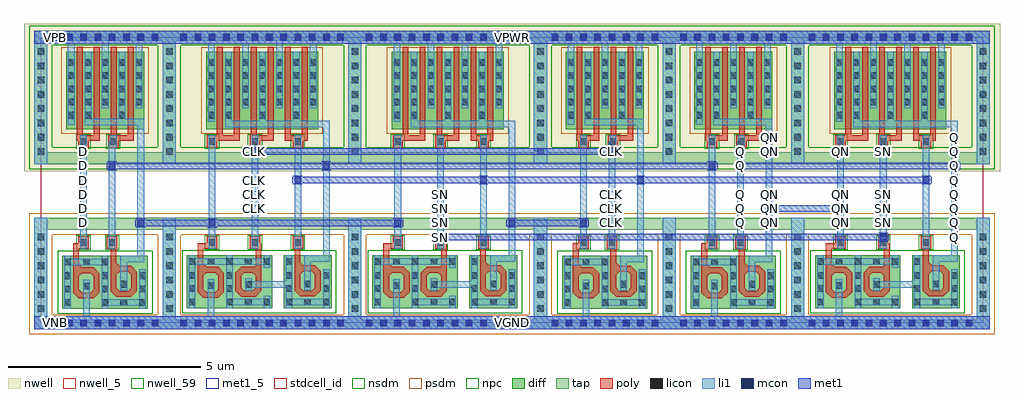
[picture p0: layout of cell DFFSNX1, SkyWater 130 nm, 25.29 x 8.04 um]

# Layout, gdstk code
from math import pi, radians
import gdstk
lib = gdstk.Library(unit=1e-6, precision=1e-09)
def R(c, l, rs):  # rectangles x0, y0, x1, y1
    for r in rs: c.add(gdstk.rectangle(r[:2], r[2:], *l))
def A(c, l, x, y, w, h, nx, ny, dx, dy):  # array of equal rectangles
    R(c, l, [(x+i*dx, y+j*dy, x+i*dx+w, y+j*dy+h) for i in range(nx) for j in range(ny)])
def P(c, l, *ps):  # polygons
    for p in ps: c.add(gdstk.Polygon(p, *l))
nwell_5 = (64, 5)
nwell = (64, 20)
nwell_59 = (64, 59)
diff = (65, 20)
tap = (65, 44)
poly = (66, 20)
licon = (66, 44)
li1 = (67, 20)
mcon = (67, 44)
met1_5 = (68, 5)
met1 = (68, 20)
stdcell_id = (81, 4)
nsdm = (93, 44)
psdm = (94, 20)
npc = (95, 20)

li1_m1_contact = lib.new_cell('li1_M1_contact')
R(li1_m1_contact, li1, [(-0.085,-0.165,0.085,0.165)])
R(li1_m1_contact, mcon, [(-0.085,-0.085,0.085,0.085)])
R(li1_m1_contact, met1, [(-0.115,-0.115,0.115,-0.085), (-0.265,-0.085,0.145,0.085), (-0.115,0.085,0.115,0.115)])

diff_ring_side = lib.new_cell('diff_ring_side')
R(diff_ring_side, nwell, [(-0.435,3.93,0.435,7.75)])
R(diff_ring_side, tap, [(-0.17,-0.17,0.17,2.72), (-0.17,4.11,0.17,7.57)])
A(diff_ring_side, licon, -0.085, 0.285, 0.17, 0.17, 1, 6, 0, 0.37)
A(diff_ring_side, licon, -0.085, 4.355, 0.17, 0.17, 1, 8, 0, 0.37)
R(diff_ring_side, li1, [(-0.17,-0.17,0.17,2.72), (-0.17,4.11,0.17,7.57)])
R(diff_ring_side, met1, [(-0.17,-0.17,0.17,0.17), (-0.17,7.23,0.17,7.57)])
R(diff_ring_side, nsdm, [(-0.295,3.985,0.295,7.695)])
R(diff_ring_side, psdm, [(-0.295,-0.295,0.295,2.845)])

nmos_bottom = lib.new_cell('nmos_bottom')
R(nmos_bottom, diff, [(0,0,1.24,1.38)])
R(nmos_bottom, poly, [(0.43,0.27,0.81,0.42), (0.28,0.42,0.43,0.925), (0.81,0.42,0.96,0.925), (0.43,0.925,0.96,1.075), (0.81,1.075,0.96,1.51)])
P(nmos_bottom, poly, [(0.73,1.075),(0.81,1.075),(0.81,1.155)],
  [(0.28,0.925),(0.43,0.925),(0.43,1.075)],
  [(0.43,0.845),(0.43,0.925),(0.51,0.925)],
  [(0.73,0.925),(0.81,0.925),(0.81,0.845)],
  [(0.43,0.5),(0.43,0.42),(0.51,0.42)],
  [(0.73,0.42),(0.81,0.42),(0.81,0.5)],
  [(0.28,0.42),(0.43,0.42),(0.43,0.27)],
  [(0.81,0.27),(0.81,0.42),(0.96,0.42)])
A(nmos_bottom, licon, 0.05, 1.13, 0.17, 0.17, 3, 1, 0.485, 0)
R(nmos_bottom, licon, [(0.05,0.08,0.22,0.25), (1.02,0.08,1.19,0.25), (0.05,0.43,0.22,0.6), (1.02,0.43,1.19,0.6), (0.535,0.505,0.705,0.675), (0.05,0.77,0.22,0.94), (1.02,0.77,1.19,0.94)])
R(nmos_bottom, li1, [(0.05,0,0.22,1.13), (1.02,0,1.19,1.13), (0.535,0.425,0.705,0.755), (0.05,1.13,1.19,1.3), (0.05,1.3,0.22,1.38), (1.02,1.3,1.19,1.38)])
R(nmos_bottom, nsdm, [(-0.125,-0.125,1.365,1.505)])

pmos2 = lib.new_cell('pmos2')
R(pmos2, nwell, [(0.26,-2.18,1.76,0.18)])
R(pmos2, diff, [(0.44,-2,1.58,0)])
R(pmos2, poly, [(0.72,-2.305,1.31,-2.155), (0.72,-2.155,0.87,0.13), (1.16,-2.155,1.31,0.13)])
A(pmos2, licon, 0.49, -1.38, 0.17, 0.17, 3, 4, 0.44, 0.34)
R(pmos2, li1, [(0.49,-1.465,0.66,0.21), (0.93,-1.465,1.1,0), (1.37,-1.465,1.54,0.21)])
R(pmos2, psdm, [(0.315,-2.125,1.705,0.125)])

poly_li1_contact = lib.new_cell('poly_li1_contact')
R(poly_li1_contact, poly, [(-0.16,-0.14,0.17,0.13)])
R(poly_li1_contact, licon, [(-0.08,-0.09,0.09,0.08)])
R(poly_li1_contact, li1, [(-0.16,-0.09,0.17,0.08)])
R(poly_li1_contact, npc, [(-0.18,-0.19,0.19,0.18)])

nmos_top_trim1 = lib.new_cell('nmos_top_trim1')
R(nmos_top_trim1, diff, [(0,0,1.24,1.38)])
R(nmos_top_trim1, poly, [(0.43,0.31,0.81,0.46), (0.28,0.46,0.43,0.965), (0.81,0.46,0.96,0.965), (0.43,0.965,0.96,1.115), (0.81,1.115,0.96,1.545)])
P(nmos_top_trim1, poly, [(0.73,1.115),(0.81,1.115),(0.81,1.195)],
  [(0.28,0.965),(0.43,0.965),(0.43,1.115)],
  [(0.43,0.885),(0.43,0.965),(0.51,0.965)],
  [(0.73,0.965),(0.81,0.965),(0.81,0.885)],
  [(0.43,0.54),(0.43,0.46),(0.51,0.46)],
  [(0.73,0.46),(0.81,0.46),(0.81,0.54)],
  [(0.28,0.46),(0.43,0.46),(0.43,0.31)],
  [(0.81,0.31),(0.81,0.46),(0.96,0.46)])
A(nmos_top_trim1, licon, 0.05, 0.08, 0.17, 0.17, 3, 1, 0.485, 0)
R(nmos_top_trim1, licon, [(0.05,0.43,0.22,0.6), (1.02,0.43,1.19,0.6), (0.535,0.55,0.705,0.72), (0.05,0.77,0.22,0.94), (1.02,0.77,1.19,0.94), (1.02,1.13,1.19,1.3)])
R(nmos_top_trim1, li1, [(0.05,0,0.22,0.08), (1.02,0,1.19,0.08), (0.05,0.08,1.19,0.25), (0.05,0.25,0.22,1.02), (1.02,0.25,1.19,1.38), (0.535,0.47,0.705,0.805)])
R(nmos_top_trim1, nsdm, [(-0.125,-0.125,1.365,1.505)])

nand2x1_pcell = lib.new_cell('nand2x1_pcell')
R(nand2x1_pcell, nwell, [(0.435,3.93,2.895,7.75)])
R(nand2x1_pcell, diff, [(0.705,5.295,0.875,5.465), (1.145,5.295,1.315,5.465), (2.025,5.295,2.195,5.465)])
R(nand2x1_pcell, tap, [(0.17,-0.17,3.16,-0.15), (0.155,-0.15,3.175,0.085), (0.155,2.4,0.17,2.41), (3.16,2.4,3.175,2.41), (0.155,2.41,3.175,2.71), (0.17,2.71,3.16,2.72), (0.17,4.11,3.16,4.42), (0.17,7.315,3.16,7.57)])
R(nand2x1_pcell, poly, [(0.84,1.875,0.99,2.065), (1.81,1.91,1.96,1.915)])
A(nand2x1_pcell, licon, 0.285, -0.085, 0.17, 0.17, 8, 2, 0.37, 7.4)
R(nand2x1_pcell, licon, [(0.705,5.295,0.875,5.465), (1.145,5.295,1.315,5.465), (2.025,5.295,2.195,5.465)])
R(nand2x1_pcell, li1, [(0.17,-0.17,3.16,-0.15), (0.155,-0.15,3.175,0.16), (0.17,0.16,3.16,0.17), (1.095,0.17,1.265,0.835), (2.065,1.165,2.235,1.57), (2.065,1.57,2.675,1.74), (2.505,1.74,2.675,5.115), (1.025,2.165,1.195,4.54), (1.765,2.165,1.785,2.205), (1.765,2.205,1.935,4.54), (1.765,4.54,1.805,4.71), (1.145,5.115,2.675,5.285), (0.705,5.135,0.875,5.555), (1.145,5.285,1.315,5.555), (2.025,5.285,2.195,5.555), (0.17,7.23,3.16,7.57)])
A(nand2x1_pcell, mcon, 0.285, -0.085, 0.17, 0.17, 8, 2, 0.37, 7.4)
R(nand2x1_pcell, met1, [(0.17,-0.17,3.16,-0.15), (0.155,-0.15,3.175,0.16), (0.17,0.16,3.16,0.17), (0.17,7.23,3.16,7.57)])
R(nand2x1_pcell, nsdm, [(0.045,3.985,3.285,4.545), (0.045,7.19,3.285,7.695)])
R(nand2x1_pcell, psdm, [(0.045,-0.295,3.285,-0.275), (0.03,-0.275,3.3,0.21), (0.03,2.275,0.295,2.285), (3.035,2.275,3.3,2.285), (0.03,2.285,3.3,2.835), (0.045,2.835,3.285,2.845), (0.58,5.17,1.44,5.59), (1.9,5.17,2.32,5.59)])
nand2x1_pcell.add(gdstk.Reference(diff_ring_side, (0,0)))
nand2x1_pcell.add(gdstk.Reference(nmos_bottom, (1.8,0.365), rotation=pi, x_reflection=True))
nand2x1_pcell.add(gdstk.Reference(pmos2, (0.215,7.02)))
nand2x1_pcell.add(gdstk.Reference(poly_li1_contact, (1.115,4.705), rotation=3*pi/2))
nand2x1_pcell.add(gdstk.Reference(poly_li1_contact, (1.115,2.085), rotation=3*pi/2))
nand2x1_pcell.add(gdstk.Reference(nmos_top_trim1, (2.77,0.365), rotation=pi, x_reflection=True))
nand2x1_pcell.add(gdstk.Reference(pmos2, (1.095,7.02)))
nand2x1_pcell.add(gdstk.Reference(poly_li1_contact, (1.845,2.075), rotation=pi/2))
nand2x1_pcell.add(gdstk.Reference(poly_li1_contact, (1.885,4.705), rotation=3*pi/2))
nand2x1_pcell.add(gdstk.Reference(diff_ring_side, (3.33,0)))

nmos_side_left = lib.new_cell('nmos_side_left')
R(nmos_side_left, diff, [(0,0,1.24,1.38)])
R(nmos_side_left, poly, [(0.435,0.305,0.81,0.455), (0.285,0.455,0.435,0.925), (0.81,0.455,0.96,0.925), (0.435,0.925,0.96,1.075), (0.81,1.075,0.96,1.51)])
P(nmos_side_left, poly, [(0.285,0.925),(0.435,0.925),(0.435,1.075)],
  [(0.435,0.845),(0.435,0.925),(0.515,0.925)],
  [(0.73,0.925),(0.81,0.925),(0.81,0.845)],
  [(0.435,0.535),(0.435,0.455),(0.515,0.455)],
  [(0.73,0.455),(0.81,0.455),(0.81,0.535)],
  [(0.285,0.455),(0.435,0.455),(0.435,0.305)],
  [(0.81,0.305),(0.81,0.455),(0.96,0.455)])
A(nmos_side_left, licon, 0.05, 0.08, 0.17, 0.17, 3, 2, 0.485, 1.05)
R(nmos_side_left, licon, [(0.05,0.43,0.22,0.6), (0.54,0.535,0.71,0.705), (0.05,0.77,0.22,0.94)])
R(nmos_side_left, li1, [(0.05,0,0.22,0.08), (1.02,0,1.19,0.08), (0.05,0.08,1.19,0.25), (0.05,0.25,0.22,1.13), (1.02,0.25,1.19,0.33), (0.54,0.455,0.71,0.785), (1.02,1.05,1.19,1.13), (0.05,1.13,1.19,1.3), (0.05,1.3,0.22,1.38), (1.02,1.3,1.19,1.38)])
R(nmos_side_left, nsdm, [(-0.125,-0.125,1.365,1.505)])

nand3x1_pcell = lib.new_cell('nand3x1_pcell')
R(nand3x1_pcell, nwell, [(0.435,3.93,4.375,5.28), (0.435,5.28,1.1,5.295), (1.395,5.28,4.375,5.495), (0.435,5.295,1.025,5.465), (1.145,5.295,1.315,5.465), (0.435,5.465,1.1,5.495), (0.435,5.495,4.375,7.75)])
A(nand3x1_pcell, diff, 1.445, 5.295, 0.17, 0.17, 3, 1, 0.88, 0)
R(nand3x1_pcell, diff, [(1.005,5.295,1.175,5.465)])
R(nand3x1_pcell, tap, [(0.17,-0.17,4.64,0.085), (0.17,2.41,4.64,2.72), (0.17,4.11,4.64,4.42), (0.17,7.315,4.64,7.57)])
R(nand3x1_pcell, poly, [(0.735,1.885,0.885,1.915), (2.235,1.885,2.385,1.915), (0.735,1.915,0.975,2.065), (2.355,1.915,2.385,2.065)])
A(nand3x1_pcell, licon, 0.285, -0.085, 0.17, 0.17, 12, 2, 0.37, 7.4)
A(nand3x1_pcell, licon, 1.445, 5.295, 0.17, 0.17, 3, 1, 0.88, 0)
R(nand3x1_pcell, licon, [(1.005,5.295,1.175,5.465)])
A(nand3x1_pcell, li1, 1.445, 5.24, 0.17, 0.315, 3, 1, 0.88, 0)
R(nand3x1_pcell, li1, [(0.17,-0.17,4.64,0.17), (0.99,0.17,1.16,0.835), (1.965,0.91,3.015,1.08), (3.5,1.175,3.67,1.58), (3.5,1.58,4.155,1.75), (3.985,1.75,4.155,5.07), (1.025,2.165,1.195,4.54), (2.135,2.165,2.305,4.54), (3.245,2.245,3.415,4.7), (1.445,5.07,4.155,5.24), (1.005,5.215,1.175,5.58), (0.17,7.23,4.64,7.57)])
A(nand3x1_pcell, mcon, 0.285, -0.085, 0.17, 0.17, 12, 2, 0.37, 7.4)
R(nand3x1_pcell, met1, [(0.17,-0.17,4.64,0.17), (0.17,7.23,4.64,7.57)])
R(nand3x1_pcell, nsdm, [(2.79,0.25,2.84,1.88), (0.045,3.985,4.765,4.545), (0.045,7.19,4.765,7.695)])
R(nand3x1_pcell, psdm, [(0.045,-0.295,4.765,0.21), (0.045,2.285,4.765,2.845), (0.88,5.17,1.74,5.59), (2.2,5.17,2.62,5.59), (3.08,5.17,3.5,5.59)])
nand3x1_pcell.add(gdstk.Reference(poly_li1_contact, (1.115,4.705), rotation=3*pi/2))
nand3x1_pcell.add(gdstk.Reference(pmos2, (0.515,7.02)))
nand3x1_pcell.add(gdstk.Reference(nmos_bottom, (1.695,0.375), rotation=pi, x_reflection=True))
nand3x1_pcell.add(gdstk.Reference(poly_li1_contact, (1.105,2.075), rotation=pi/2))
nand3x1_pcell.add(gdstk.Reference(diff_ring_side, (0,0)))
nand3x1_pcell.add(gdstk.Reference(poly_li1_contact, (2.215,4.695), rotation=pi/2))
nand3x1_pcell.add(gdstk.Reference(pmos2, (2.275,7.02)))
nand3x1_pcell.add(gdstk.Reference(pmos2, (1.395,7.02)))
nand3x1_pcell.add(gdstk.Reference(nmos_side_left, (1.425,0.375)))
nand3x1_pcell.add(gdstk.Reference(poly_li1_contact, (2.215,2.075), rotation=pi/2))
nand3x1_pcell.add(gdstk.Reference(poly_li1_contact, (3.335,4.705), rotation=3*pi/2))
nand3x1_pcell.add(gdstk.Reference(nmos_top_trim1, (4.205,0.375), rotation=pi, x_reflection=True))
nand3x1_pcell.add(gdstk.Reference(poly_li1_contact, (3.325,2.075), rotation=pi/2))
nand3x1_pcell.add(gdstk.Reference(diff_ring_side, (4.81,0)))

dffsnx1_pcell = lib.new_cell('dffsnx1_pcell')
R(dffsnx1_pcell, met1, [(10.275,2.135,21.905,2.305), (2.685,2.505,9.11,2.675), (12.305,2.505,13.855,2.675), (6.755,3.615,23.02,3.785), (2.03,3.985,17.43,4.155), (5.465,4.355,14.76,4.525)])
dffsnx1_pcell.add(gdstk.Reference(li1_m1_contact, (4.44,2.585), rotation=pi))
dffsnx1_pcell.add(gdstk.Reference(li1_m1_contact, (2.59,2.59), rotation=pi))
dffsnx1_pcell.add(gdstk.Reference(li1_m1_contact, (1.85,4.07), rotation=pi))
dffsnx1_pcell.add(gdstk.Reference(nand2x1_pcell, (0,0)))
dffsnx1_pcell.add(gdstk.Reference(nand3x1_pcell, (3.33,0)))
dffsnx1_pcell.add(gdstk.Reference(li1_m1_contact, (10.36,2.22), rotation=pi))
dffsnx1_pcell.add(gdstk.Reference(li1_m1_contact, (9.25,2.59)))
dffsnx1_pcell.add(gdstk.Reference(li1_m1_contact, (7.395,4.07), rotation=pi))
dffsnx1_pcell.add(gdstk.Reference(li1_m1_contact, (6.66,3.7), rotation=pi))
dffsnx1_pcell.add(gdstk.Reference(li1_m1_contact, (5.55,4.44), rotation=pi))
dffsnx1_pcell.add(gdstk.Reference(nand3x1_pcell, (8.14,0)))
dffsnx1_pcell.add(gdstk.Reference(li1_m1_contact, (14.8,4.44)))
dffsnx1_pcell.add(gdstk.Reference(li1_m1_contact, (15.54,3.7)))
dffsnx1_pcell.add(gdstk.Reference(li1_m1_contact, (14.06,2.59)))
dffsnx1_pcell.add(gdstk.Reference(li1_m1_contact, (12.21,2.59), rotation=pi))
dffsnx1_pcell.add(gdstk.Reference(li1_m1_contact, (11.47,3.7)))
dffsnx1_pcell.add(gdstk.Reference(nand2x1_pcell, (16.28,0)))
dffsnx1_pcell.add(gdstk.Reference(nand2x1_pcell, (12.95,0)))
dffsnx1_pcell.add(gdstk.Reference(li1_m1_contact, (21.83,2.22)))
dffsnx1_pcell.add(gdstk.Reference(li1_m1_contact, (17.39,4.07)))
dffsnx1_pcell.add(gdstk.Reference(nand3x1_pcell, (19.61,0)))
dffsnx1_pcell.add(gdstk.Reference(li1_m1_contact, (22.94,3.7)))

dffsnx1 = lib.new_cell('DFFSNX1')
R(dffsnx1, nwell_5, [(0.285,7.315,0.455,7.485)])
R(dffsnx1, nwell, [(0.285,7.315,0.455,7.485)])
R(dffsnx1, nwell_59, [(0.285,-0.085,0.455,0.085)])
A(dffsnx1, li1, 10.275, 2.135, 0.17, 0.17, 1, 4, 0, 0.37)
A(dffsnx1, li1, 23.595, 2.135, 0.17, 0.17, 1, 8, 0, 0.37)
A(dffsnx1, li1, 1.025, 2.505, 0.17, 0.17, 1, 6, 0, 0.37)
A(dffsnx1, li1, 14.715, 2.505, 0.17, 0.17, 1, 3, 0, 0.37)
A(dffsnx1, li1, 18.045, 2.505, 0.17, 0.17, 1, 3, 0, 0.37)
A(dffsnx1, li1, 18.785, 2.505, 0.17, 0.17, 1, 3, 0, 0.37)
A(dffsnx1, li1, 20.635, 2.505, 0.17, 0.17, 1, 3, 0, 0.37)
A(dffsnx1, li1, 21.745, 2.505, 0.17, 0.17, 1, 3, 0, 0.37)
A(dffsnx1, li1, 5.465, 2.875, 0.17, 0.17, 1, 3, 0, 0.37)
R(dffsnx1, li1, [(18.045,3.985,18.215,4.155), (5.465,4.355,5.635,4.525), (14.715,4.355,14.885,4.525), (18.045,4.355,18.215,4.525), (18.785,4.355,18.955,4.525), (20.635,4.355,20.805,4.525), (21.745,4.355,21.915,4.525), (18.785,4.725,18.955,4.895)])
A(dffsnx1, met1_5, 10.275, 2.135, 0.17, 0.17, 1, 4, 0, 0.37)
A(dffsnx1, met1_5, 23.595, 2.135, 0.17, 0.17, 1, 8, 0, 0.37)
A(dffsnx1, met1_5, 1.025, 2.505, 0.17, 0.17, 1, 6, 0, 0.37)
A(dffsnx1, met1_5, 14.715, 2.505, 0.17, 0.17, 1, 3, 0, 0.37)
A(dffsnx1, met1_5, 18.045, 2.505, 0.17, 0.17, 1, 3, 0, 0.37)
A(dffsnx1, met1_5, 18.785, 2.505, 0.17, 0.17, 1, 3, 0, 0.37)
A(dffsnx1, met1_5, 20.635, 2.505, 0.17, 0.17, 1, 3, 0, 0.37)
A(dffsnx1, met1_5, 21.745, 2.505, 0.17, 0.17, 1, 3, 0, 0.37)
A(dffsnx1, met1_5, 5.465, 2.875, 0.17, 0.17, 1, 3, 0, 0.37)
R(dffsnx1, met1_5, [(-0.17,-0.17,24.59,0.17), (18.045,3.985,18.215,4.155), (5.465,4.355,5.635,4.525), (14.715,4.355,14.885,4.525), (18.045,4.355,18.215,4.525), (18.785,4.355,18.955,4.525), (20.635,4.355,20.805,4.525), (21.745,4.355,21.915,4.525), (18.785,4.725,18.955,4.895), (-0.17,7.23,24.59,7.57)])
R(dffsnx1, met1, [(-0.17,-0.17,24.59,0.17), (18.965,2.875,20.505,3.045), (18.225,3.985,23.505,4.155), (-0.17,7.23,24.59,7.57)])
R(dffsnx1, stdcell_id, [(0,0,24.42,7.4)])
dffsnx1.add(gdstk.Reference(li1_m1_contact, (20.72,2.96)))
dffsnx1.add(gdstk.Reference(li1_m1_contact, (18.87,2.96), rotation=pi))
dffsnx1.add(gdstk.Reference(dffsnx1_pcell, (0,0)))
dffsnx1.add(gdstk.Reference(li1_m1_contact, (18.13,4.07), rotation=pi))
dffsnx1.add(gdstk.Reference(li1_m1_contact, (23.68,4.07)))
dffsnx1.add(gdstk.Label('Q', (23.68,3.33), layer=68, texttype=5))
dffsnx1.add(gdstk.Label('Q', (23.68,3.7), layer=68, texttype=5))
dffsnx1.add(gdstk.Label('Q', (23.68,4.07), layer=68, texttype=5))
dffsnx1.add(gdstk.Label('Q', (23.68,4.44), layer=68, texttype=5))
dffsnx1.add(gdstk.Label('Q', (23.68,4.81), layer=68, texttype=5))
dffsnx1.add(gdstk.Label('Q', (23.68,2.96), layer=68, texttype=5))
dffsnx1.add(gdstk.Label('Q', (23.68,2.59), layer=68, texttype=5))
dffsnx1.add(gdstk.Label('Q', (23.68,2.22), layer=68, texttype=5))
dffsnx1.add(gdstk.Label('Q', (18.13,4.44), layer=68, texttype=5))
dffsnx1.add(gdstk.Label('Q', (18.13,4.07), layer=68, texttype=5))
dffsnx1.add(gdstk.Label('Q', (18.13,3.33), layer=68, texttype=5))
dffsnx1.add(gdstk.Label('Q', (18.13,2.96), layer=68, texttype=5))
dffsnx1.add(gdstk.Label('Q', (18.13,2.59), layer=68, texttype=5))
dffsnx1.add(gdstk.Label('QN', (20.72,2.96), layer=68, texttype=5))
dffsnx1.add(gdstk.Label('QN', (20.72,2.59), layer=68, texttype=5))
dffsnx1.add(gdstk.Label('QN', (20.72,4.44), layer=68, texttype=5))
dffsnx1.add(gdstk.Label('QN', (18.87,2.59), layer=68, texttype=5))
dffsnx1.add(gdstk.Label('QN', (18.87,2.96), layer=68, texttype=5))
dffsnx1.add(gdstk.Label('QN', (18.87,4.44), layer=68, texttype=5))
dffsnx1.add(gdstk.Label('QN', (18.87,4.81), layer=68, texttype=5))
dffsnx1.add(gdstk.Label('D', (1.11,3.7), layer=68, texttype=5))
dffsnx1.add(gdstk.Label('D', (1.11,4.07), layer=68, texttype=5))
dffsnx1.add(gdstk.Label('D', (1.11,4.44), layer=68, texttype=5))
dffsnx1.add(gdstk.Label('D', (1.11,3.33), layer=68, texttype=5))
dffsnx1.add(gdstk.Label('D', (1.11,2.96), layer=68, texttype=5))
dffsnx1.add(gdstk.Label('D', (1.11,2.59), layer=68, texttype=5))
dffsnx1.add(gdstk.Label('CLK', (5.55,4.44), layer=68, texttype=5))
dffsnx1.add(gdstk.Label('CLK', (5.55,3.7), layer=68, texttype=5))
dffsnx1.add(gdstk.Label('CLK', (5.55,3.33), layer=68, texttype=5))
dffsnx1.add(gdstk.Label('CLK', (5.55,2.96), layer=68, texttype=5))
dffsnx1.add(gdstk.Label('CLK', (14.8,3.33), layer=68, texttype=5))
dffsnx1.add(gdstk.Label('CLK', (14.8,4.44), layer=68, texttype=5))
dffsnx1.add(gdstk.Label('CLK', (14.8,2.96), layer=68, texttype=5))
dffsnx1.add(gdstk.Label('CLK', (14.8,2.59), layer=68, texttype=5))
dffsnx1.add(gdstk.Label('SN', (10.36,2.22), layer=68, texttype=5))
dffsnx1.add(gdstk.Label('SN', (10.36,2.59), layer=68, texttype=5))
dffsnx1.add(gdstk.Label('SN', (10.36,2.96), layer=68, texttype=5))
dffsnx1.add(gdstk.Label('SN', (10.36,3.33), layer=68, texttype=5))
dffsnx1.add(gdstk.Label('SN', (21.83,2.59), layer=68, texttype=5))
dffsnx1.add(gdstk.Label('SN', (21.83,2.96), layer=68, texttype=5))
dffsnx1.add(gdstk.Label('SN', (21.83,4.44), layer=68, texttype=5))
dffsnx1.add(gdstk.Label('VPWR', (12.21,7.4), layer=68, texttype=5))
dffsnx1.add(gdstk.Label('VGND', (12.21,0), layer=68, texttype=5))
dffsnx1.add(gdstk.Label('VPB', (0.37,7.4), layer=64, texttype=5))
dffsnx1.add(gdstk.Label('VNB', (0.37,0), layer=64, texttype=59))
dffsnx1.add(gdstk.Label('QN', (20.72,3.33), layer=68, texttype=5))
dffsnx1.add(gdstk.Label('SN', (21.83,3.33), layer=68, texttype=5))
dffsnx1.add(gdstk.Label('QN', (18.87,3.33), layer=68, texttype=5))

lib.write_gds('DFFSNX1.gds')
